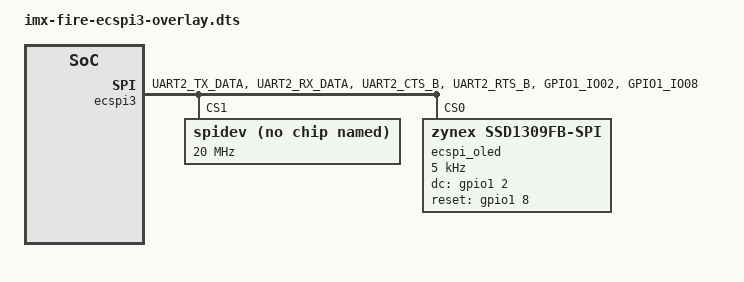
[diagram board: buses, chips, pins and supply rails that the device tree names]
/*
 * Copyright (C) 2019 - All Rights Reserved by 
 * filename : imx-fire-ecspi3-overlay.dts
 * brief : Device Tree overlay for EBF6ull ecspi3' device
 * author : embedfire
 * date : 2019-12-10 
 * version : A001
 */
#include "../imx6ul-pinfunc.h"
#include "../imx6ull-pinfunc.h"
#include "../imx6ull-pinfunc-snvs.h"
#include "dt-bindings/interrupt-controller/irq.h"
#include "dt-bindings/gpio/gpio.h"
/dts-v1/;
/plugin/;

/ {
		fragment@0 {
			target = <&ecspi3>;
			__overlay__ {
				fsl,spi-num-chipselects = <2>;
				cs-gpio = <&gpio1 20 GPIO_ACTIVE_LOW>;
				pinctrl-names = "default";
				pinctrl-0 = <&pinctrl_ecspi3>;
				status = "okay";
				#address-cells = <1>;
				#size-cells = <0>; 
				spidev@0 {
					compatible = "rohm,dh2228fv";
					spi-max-frequency = <20000000>;
					reg = <1>;
				};
	/* when a node quotes the gpio pin we have to give it two para 
	   specified by the gpio-cells, when a node quotes the interrupt of
	   gpio node when have to give two paras specified by the interrupt
	   cells.
	*/
	/* device model for spimodeldrv.ko
                ecspi_oled@1 {
                    dc_control_pin = <&gpio1 2 0>;
                    rst_control_pin = <&gpio1 8 0>;
                    compatible = "zynex,ecspi_oled";
                    spi-max-frequency = <20000000>;
                    reg = <0>;
                };
	*/
                		ecspi_oled@1 {
                 			dc-gpios = <&gpio1 2 0>;
                    			reset-gpios = <&gpio1 8 0>;
                    			compatible = "zynex,ssd1309fb-spi";
                    			spi-max-frequency = <5000>;
                    			reg = <0>;         /* cs chip select */
					zynex,width  = <128>;   /* width */
					zynex,height = <64>;
					zynex,page-offset = <0>; /* for 22h */
					zynex,com-offset = <0>;  /* for d3h */
					zynex,precharge1 = <2>;  /* for d9h default */
					zynex,precharge2 = <2>;  /* for d9h */
					zynex,segment-no-remap;  /* default a0h */
					/* zynex,com-seq; */
					/* zynex,com-lrremap; */
					zynex,com-invdir;
                		};
			};
		};
		
		fragment@1 {
			target = <&iomuxc>;
			__overlay__ {
				pinctrl_ecspi3:ecspi3grp {
					fsl,pins = <
						MX6UL_PAD_UART2_TX_DATA__ECSPI3_SS0     0x1a090//0x10b0 
						MX6UL_PAD_UART2_RX_DATA__ECSPI3_SCLK		0x11090//0x10b0
						MX6UL_PAD_UART2_CTS_B__ECSPI3_MOSI			0x11090//0x10b0	
						MX6UL_PAD_UART2_RTS_B__ECSPI3_MISO			0x11090//0x10b0
		                MX6UL_PAD_GPIO1_IO02__GPIO1_IO02	0x10b0
		                MX6UL_PAD_GPIO1_IO08__GPIO1_IO08	0x10b0
					>;
				};						
			};
		};



};
